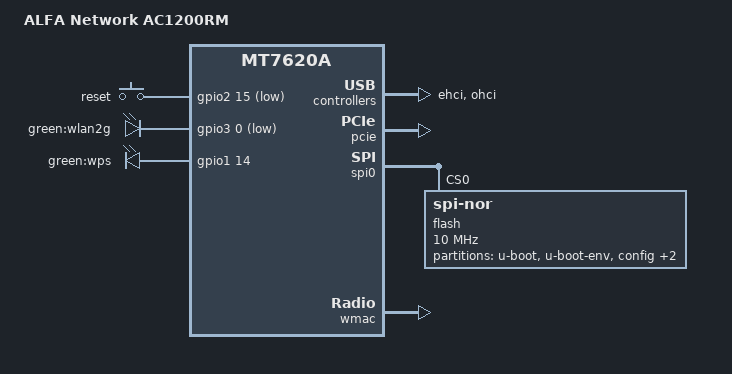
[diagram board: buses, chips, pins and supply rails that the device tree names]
// SPDX-License-Identifier: BSD-3-Clause
/*
 *  Copyright (C) 2018 Piotr Dymacz <pepe2k@gmail.com>
 *  All rights reserved.
 */

#include "mt7620a.dtsi"

#include <dt-bindings/gpio/gpio.h>
#include <dt-bindings/input/input.h>

/ {
	compatible = "alfa-network,ac1200rm", "ralink,mt7620a-soc";
	model = "ALFA Network AC1200RM";

	aliases {
		led-boot = &led_wps;
		led-failsafe = &led_wps;
	};

	chosen {
		bootargs = "console=ttyS0,115200";
	};

	keys {
		compatible = "gpio-keys";

		reset {
			label = "reset";
			gpios = <&gpio2 15 GPIO_ACTIVE_LOW>;
			linux,code = <KEY_RESTART>;
		};
	};

	leds {
		compatible = "gpio-leds";

		wlan2g {
			label = "green:wlan2g";
			gpios = <&gpio3 0 GPIO_ACTIVE_LOW>;
		};

		led_wps: wps {
			label = "green:wps";
			gpios = <&gpio1 14 GPIO_ACTIVE_HIGH>;
		};
	};
};

&ehci {
	status = "okay";
};

&ethernet {
	pinctrl-names = "default";
	pinctrl-0 = <&ephy_pins>;

	nvmem-cells = <&macaddr_factory_28>;
	nvmem-cell-names = "mac-address";

	mediatek,portmap = "llllw";
};

&gpio1 {
	status = "okay";
};

&gpio2 {
	status = "okay";
};

&gpio3 {
	status = "okay";
};

&ohci {
	status = "okay";
};

&pcie {
	status = "okay";
};

&pcie0 {
	mt76@0,0 {
		reg = <0x0000 0 0 0 0>;
		mediatek,mtd-eeprom = <&factory 0x8000>;
		ieee80211-freq-limit = <5000000 6000000>;

		led {
			led-sources = <2>;
			led-active-low;
		};
	};
};

&state_default {
	gpio {
		groups = "nd_sd", "spi refclk", "wled";
		function = "gpio";
	};
};

&spi0 {
	status = "okay";

	flash@0 {
		compatible = "jedec,spi-nor";
		reg = <0>;
		spi-max-frequency = <10000000>;

		partitions {
			compatible = "fixed-partitions";
			#address-cells = <1>;
			#size-cells = <1>;

			partition@0 {
				label = "u-boot";
				reg = <0x0 0x30000>;
				read-only;
			};

			partition@30000 {
				label = "u-boot-env";
				reg = <0x30000 0x1000>;
			};

			partition@31000 {
				label = "config";
				reg = <0x31000 0xf000>;
				read-only;
			};

			factory: partition@40000 {
				label = "factory";
				reg = <0x40000 0x10000>;
				read-only;
			};

			partition@50000 {
				compatible = "denx,uimage";
				label = "firmware";
				reg = <0x50000 0xfb0000>;
			};
		};
	};
};

&wmac {
	ralink,mtd-eeprom = <&factory 0x0>;
};

&factory {
	compatible = "nvmem-cells";
	#address-cells = <1>;
	#size-cells = <1>;

	macaddr_factory_28: macaddr@28 {
		reg = <0x28 0x6>;
	};
};
